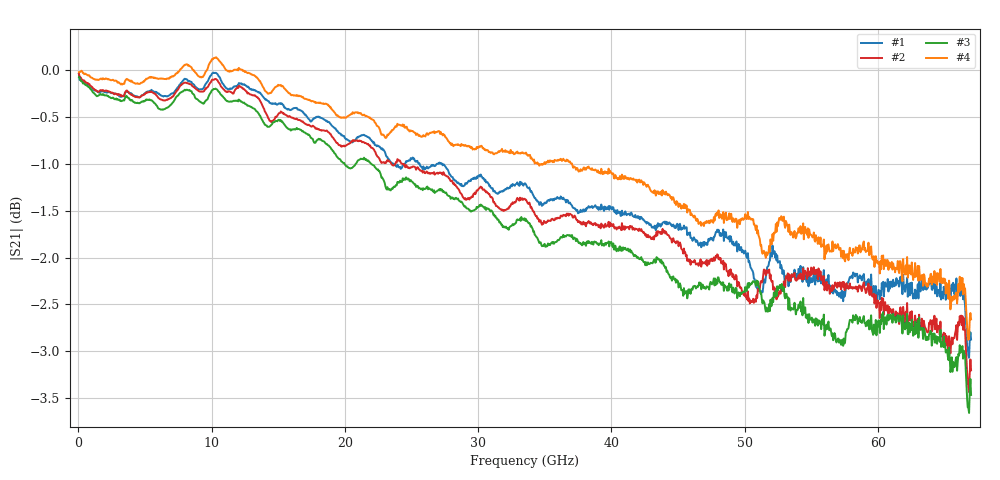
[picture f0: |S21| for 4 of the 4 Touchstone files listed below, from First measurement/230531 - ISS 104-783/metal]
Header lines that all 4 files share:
#  HZ  S  MA  R  50.00
! Rohde & Schwarz ZVA67 4Ports - Version 4.11 - 1305.7002k04 SN: 101051
! Measurements: S11 S21 S12 S22
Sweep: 50 MHz to 67 GHz
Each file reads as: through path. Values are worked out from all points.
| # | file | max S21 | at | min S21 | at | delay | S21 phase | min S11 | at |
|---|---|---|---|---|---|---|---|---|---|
| 1 | Line_A3.s2p | -0.03 dB | 10.15 GHz | -3.1 dB | 66.85 GHz | 385 ps | 25 deg at 33.55 GHz | -43.9 dB | 22.6 GHz |
| 2 | Line_A4.s2p | -0.04 dB | 50 MHz | -3.4 dB | 66.85 GHz | 398 ps | -130 deg at 33.55 GHz | -43.3 dB | 850 MHz |
| 3 | Line_A5.s2p | -0.08 dB | 50 MHz | -3.7 dB | 66.85 GHz | 411 ps | 69 deg at 33.55 GHz | -52.0 dB | 850 MHz |
| 4 | Thru_A1.s2p | 0.14 dB | 10.35 GHz | -2.9 dB | 66.8 GHz | 373 ps | 171 deg at 33.55 GHz | -50.6 dB | 45.2 GHz |
